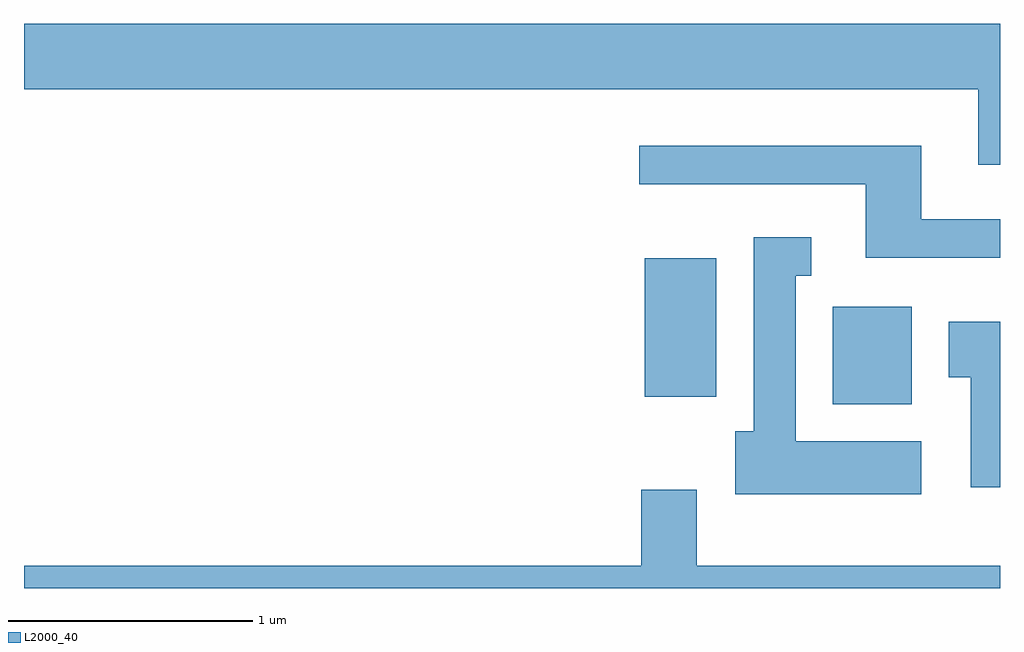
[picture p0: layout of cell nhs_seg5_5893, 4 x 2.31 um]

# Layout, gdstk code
import gdstk
lib = gdstk.Library(unit=1e-6, precision=1e-09)
def R(c, l, rs):  # rectangles x0, y0, x1, y1
    for r in rs: c.add(gdstk.rectangle(r[:2], r[2:], *l))
def P(c, l, *ps):  # polygons
    for p in ps: c.add(gdstk.Polygon(p, *l))
L2000_40 = (2000, 40)

nhs_seg5_5893 = lib.new_cell('nhs_seg5_5893')
R(nhs_seg5_5893, L2000_40, [(362.926,1468.826,363.249,1469.224), (362.156,1468.856,362.449,1469.424)])
P(nhs_seg5_5893, L2000_40, [(363.611,1470.384),(359.611,1470.384),(359.611,1470.116),(363.521,1470.116),(363.521,1469.806),(363.611,1469.806)],
  [(363.611,1469.584),(363.289,1469.584),(363.289,1469.884),(362.133,1469.884),(362.133,1469.726),(363.061,1469.726),(363.061,1469.426),(363.611,1469.426)],
  [(363.289,1468.674),(362.774,1468.674),(362.774,1469.351),(362.838,1469.351),(362.838,1469.509),(362.601,1469.509),(362.601,1468.714),(362.526,1468.714),(362.526,1468.456),(363.289,1468.456)],
  [(363.611,1469.164),(363.401,1469.164),(363.401,1468.936),(363.491,1468.936),(363.491,1468.486),(363.611,1468.486)],
  [(363.611,1468.164),(362.369,1468.164),(362.369,1468.474),(362.141,1468.474),(362.141,1468.164),(359.611,1468.164),(359.611,1468.072),(363.611,1468.072)])

lib.write_gds('nhs_seg5_5893.gds')
